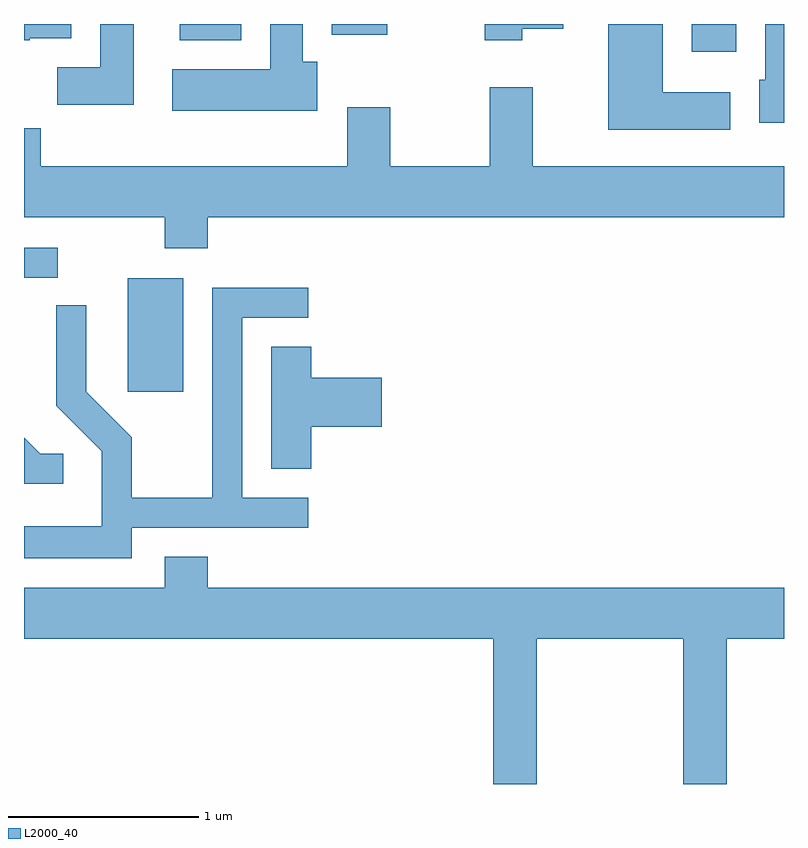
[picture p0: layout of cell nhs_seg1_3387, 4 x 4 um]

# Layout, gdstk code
import gdstk
lib = gdstk.Library(unit=1e-6, precision=1e-09)
def R(c, l, rs):  # rectangles x0, y0, x1, y1
    for r in rs: c.add(gdstk.rectangle(r[:2], r[2:], *l))
def P(c, l, *ps):  # polygons
    for p in ps: c.add(gdstk.Polygon(p, *l))
L2000_40 = (2000, 40)

nhs_seg1_3387 = lib.new_cell('nhs_seg1_3387')
R(nhs_seg1_3387, L2000_40, [(288.156,889.776,288.449,890.374), (287.611,890.376,287.788,890.534), (291.126,891.566,291.359,891.712), (288.431,891.626,288.754,891.712), (289.231,891.656,289.524,891.712)])
P(nhs_seg1_3387, L2000_40, [(290.234,891.686),(290.449,891.686),(290.449,891.712),(290.036,891.712),(290.036,891.626),(290.234,891.626)],
  [(288.189,891.712),(288.011,891.712),(288.011,891.484),(287.786,891.484),(287.786,891.286),(288.189,891.286)],
  [(291.611,891.712),(291.511,891.712),(291.511,891.419),(291.481,891.419),(291.481,891.191),(291.611,891.191)],
  [(289.154,891.514),(289.079,891.514),(289.079,891.712),(288.906,891.712),(288.906,891.474),(288.391,891.474),(288.391,891.256),(289.154,891.256)],
  [(291.329,891.354),(290.974,891.354),(290.974,891.712),(290.686,891.712),(290.686,891.156),(291.329,891.156)],
  [(287.64,891.636),(287.859,891.636),(287.859,891.712),(287.611,891.712),(287.611,891.626),(287.64,891.626)],
  [(288.579,890.696),(291.611,890.696),(291.611,890.964),(290.289,890.964),(290.289,891.379),(290.061,891.379),(290.061,890.964),(289.539,890.964),(289.539,891.274),(289.311,891.274),(289.311,890.964),(287.699,890.964),(287.699,891.164),(287.611,891.164),(287.611,890.696),(288.351,890.696),(288.351,890.531),(288.579,890.531)],
  [(288.179,889.061),(289.108,889.061),(289.108,889.219),(288.759,889.219),(288.759,890.166),(289.108,890.166),(289.108,890.324),(288.601,890.324),(288.601,889.219),(288.179,889.219),(288.179,889.537),(287.939,889.777),(287.939,890.233),(287.781,890.233),(287.781,889.704),(288.021,889.464),(288.021,889.069),(287.611,889.069),(287.611,888.901),(288.179,888.901)],
  [(289.124,889.591),(289.494,889.591),(289.494,889.849),(289.124,889.849),(289.124,890.014),(288.911,890.014),(288.911,889.371),(289.124,889.371)],
  [(287.818,889.449),(287.697,889.449),(287.611,889.535),(287.611,889.291),(287.818,889.291)],
  [(290.309,888.476),(291.081,888.476),(291.081,887.712),(291.309,887.712),(291.309,888.476),(291.611,888.476),(291.611,888.744),(288.579,888.744),(288.579,888.909),(288.351,888.909),(288.351,888.744),(287.611,888.744),(287.611,888.476),(290.081,888.476),(290.081,887.712),(290.309,887.712)])

lib.write_gds('nhs_seg1_3387.gds')
